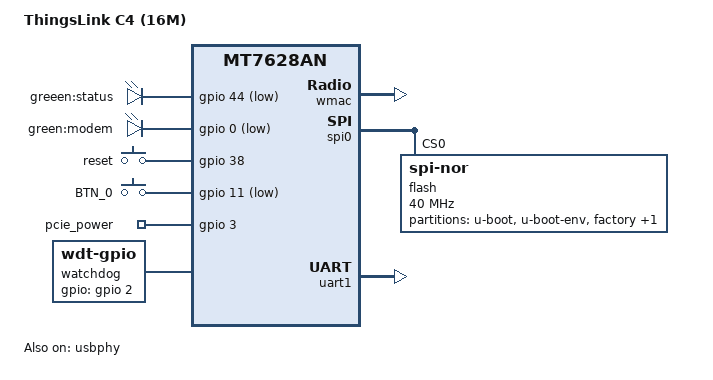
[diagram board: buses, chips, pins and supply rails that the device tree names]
#include "mt7628an.dtsi"

#include <dt-bindings/gpio/gpio.h>
#include <dt-bindings/input/input.h>

/{
	compatible = "kooiot,tlink-c4-16m", "mediatek,mt7628an-soc";
	model = "ThingsLink C4 (16M)";

	aliases {
		led-boot = &led_status;
		led-failsafe = &led_status;
		led-upgrade = &led_status;
		serial1 = &uart1;
	};

	chosen {
		bootargs = "console=ttyS0,57600";
	};

	leds {
		compatible = "gpio-leds";

		led_status: status {
			label = "greeen:status";
			gpios = <&gpio 44 GPIO_ACTIVE_LOW>;
			linux,default-trigger = "heartbeat";
		};

		led_modem: modem {
			label = "green:modem";
			gpios = <&gpio 0 GPIO_ACTIVE_LOW>;
		};
	};

	keys {
		compatible = "gpio-keys";

		reset {
			label = "reset";
			gpios = <&gpio 38 GPIO_ACTIVE_HIGH>;
			linux,code = <KEY_RESTART>;
		};

		sim_det {
			label = "BTN_0";
			gpios = <&gpio 11 1>; 
			linux,code = <0x100>;
		};
	};

	gpio_export {
			compatible = "gpio-export";
			#size-cells = <0>;

			pcie_power {
				gpio-export,name = "pcie_power";
				gpio-export,output = <1>;
				gpios = <&gpio 3 GPIO_ACTIVE_HIGH>;
			};

	};

	watchdog {
		compatible = "linux,wdt-gpio";
		gpios = <&gpio 2 GPIO_ACTIVE_HIGH>;
		hw_algo = "toggle";
		hw_margin_ms = <1300>;
		always-running;
	};
};

&state_default {
	gpio {
		groups = "gpio", "wled_an", "i2s";
		function = "gpio";
	};
};

&ethernet {
	mtd-mac-address = <&factory 0x4>;
};

&wmac {
	status = "okay";
};

&spi0 {
	status = "okay";

	flash@0 {
		compatible = "jedec,spi-nor";
		reg = <0>;
		spi-max-frequency = <40000000>;
		// spi-max-frequency = <10000000>;

		partitions {
			compatible = "fixed-partitions";
			#address-cells = <1>;
			#size-cells = <1>;

			partition@0 {
				label = "u-boot";
				reg = <0x0 0x30000>;
				read-only;
			};

			partition@30000 {
				label = "u-boot-env";
				reg = <0x30000 0x10000>;
				read-only;
			};

			factory: partition@40000 {
				label = "factory";
				reg = <0x40000 0x10000>;
				read-only;
			};

			partition@50000 {
				compatible = "denx,uimage";
				label = "firmware";
				reg = <0x50000 0xfb0000>;
			};
		};
	};
};

&uart1 {
	status = "okay";
};

&usbphy {
	status = "okay";
};
